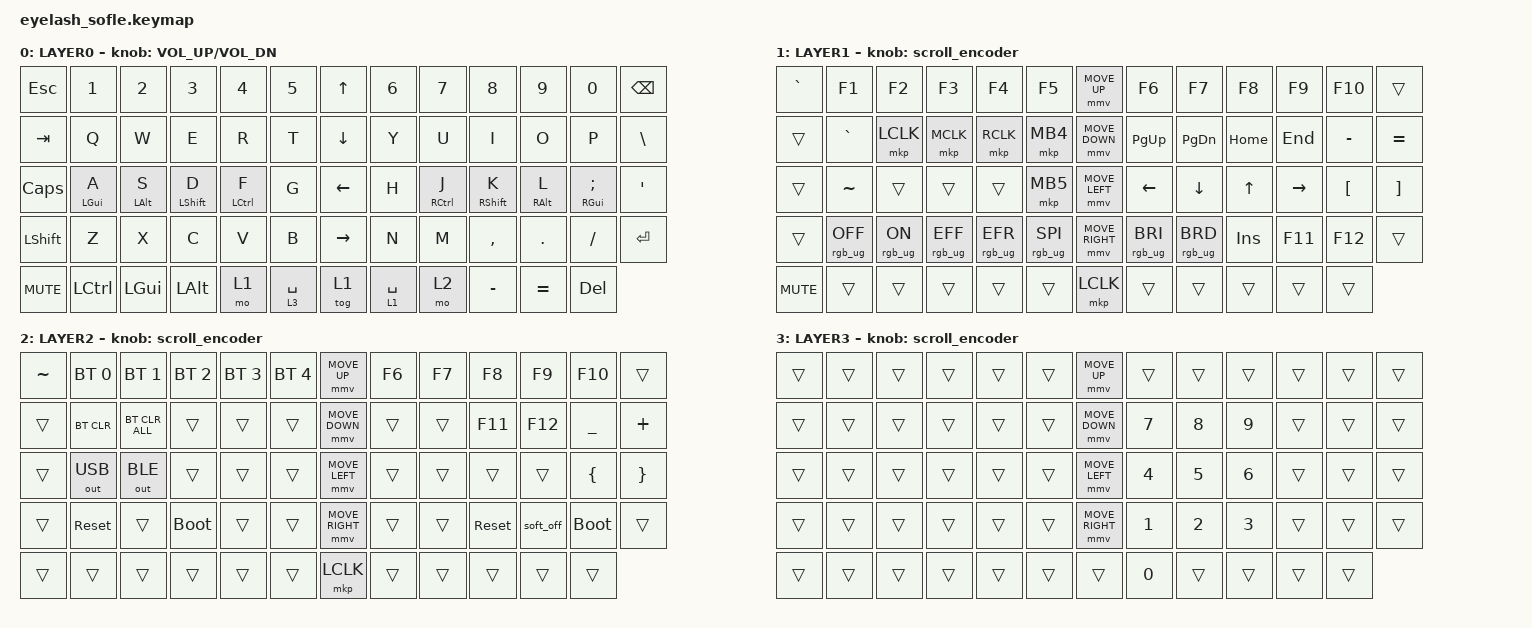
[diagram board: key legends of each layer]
#include <behaviors.dtsi>
#include <dt-bindings/zmk/bt.h>
#include <dt-bindings/zmk/keys.h>
#include <dt-bindings/zmk/mouse.h>
#include <dt-bindings/zmk/outputs.h>
#include <dt-bindings/zmk/rgb.h>

#include <input/processors.dtsi>

/*

   &mmv_input_listener {
       input-processors = <&zip_xy_scaler 2 1>;
   };

   &msc_input_listener {
       input-processors = <&zip_xy_scaler 2 1>;
   };

 */

#define ZMK_MOUSE_DEFAULT_MOVE_VAL 1200  // 600
#define ZMK_MOUSE_DEFAULT_SCRL_VAL 20    // 10

/ {
    behaviors {
        hml: home_row_mod_left {
            compatible = "zmk,behavior-hold-tap";
            #binding-cells = <2>;
            flavor = "balanced";
            require-prior-idle-ms = <150>;
            tapping-term-ms = <280>;
            quick-tap-ms = <175>;
            bindings = <&kp>, <&kp>;
            hold-trigger-key-positions = <27 28 29 30>; // List of keys on the right side of the keyboard
            hold-trigger-on-release;
        };
        hmr: home_row_mod_right {
            compatible = "zmk,behavior-hold-tap";
            #binding-cells = <2>;
            flavor = "balanced";
            require-prior-idle-ms = <150>;
            tapping-term-ms = <280>;
            quick-tap-ms = <175>;
            bindings = <&kp>, <&kp>;
            hold-trigger-key-positions = <34 35 36 37>; // List of keys on the left side of the keyboard
            hold-trigger-on-release;
        };
        mmv {
            acceleration-exponent = <1>;      // 1
            time-to-max-speed-ms = <900>;    // 40
            delay-ms = <0>;                   // 0
        };

        msc {
            acceleration-exponent = <1>;      // 0
            time-to-max-speed-ms = <400>;      // 500
            delay-ms = <0>;                   //   10
        };
    };

    scroll_encoder: scroll_encoder {
        compatible = "zmk,behavior-sensor-rotate";
        #sensor-binding-cells = <0>;
        bindings = <&msc SCRL_DOWN>, <&msc SCRL_UP>;

        tap-ms = <30>;
    };

    keymap {
        compatible = "zmk,keymap";

        layer0 {
            bindings = <
&kp ESC     &kp N1              &kp N2         &kp N3        &kp N4      &kp N5       &kp UP_ARROW     &kp N6     &kp N7      &kp N8         &kp N9           &kp N0             &kp BACKSPACE
&kp TAB     &kp Q               &kp W          &kp E         &kp R       &kp T        &kp DOWN_ARROW   &kp Y      &kp U       &kp I          &kp O            &kp P              &kp BSLH
&kp CAPS    &hml LEFT_GUI A      &hml LEFT_ALT S &hml LSHFT D   &hml LCTRL F &kp G        &kp LEFT_ARROW   &kp H      &hmr RCTRL J &hmr RSHFT K    &hmr RIGHT_ALT L  &hmr RIGHT_GUI SEMI &kp APOS
&kp LSHFT   &kp Z               &kp X          &kp C         &kp V       &kp B        &kp RIGHT_ARROW  &kp N      &kp M       &kp COMMA      &kp DOT          &kp FSLH           &kp ENTER
&kp C_MUTE  &kp LCTRL           &kp LEFT_GUI   &kp LEFT_ALT  &mo 1       &lt 3 SPACE  &tog 1           &lt 1 SPACE  &mo 2       &kp MINUS      &kp EQUAL        &kp DELETE
            >;

            sensor-bindings = <&inc_dec_kp C_VOLUME_UP C_VOL_DN>;
            display-name = "LAYER0";
        };

        layer_1 {
            bindings = <
&kp GRAVE   &kp F1           &kp F2          &kp F3           &kp F4           &kp F5             &mmv MOVE_UP     &kp F6           &kp F7           &kp F8      &kp F9     &kp F10           &trans
&trans      &kp GRAVE        &mkp LCLK       &mkp MCLK        &mkp RCLK        &mkp MB4           &mmv MOVE_DOWN   &kp PG_UP        &kp PG_DN        &kp HOME    &kp END    &kp MINUS         &kp EQUAL
&trans      &kp TILDE        &trans          &trans           &trans           &mkp MB5           &mmv MOVE_LEFT   &kp LEFT         &kp DOWN         &kp UP      &kp RIGHT  &kp LEFT_BRACKET  &kp RIGHT_BRACKET
&trans      &rgb_ug RGB_OFF  &rgb_ug RGB_ON  &rgb_ug RGB_EFF  &rgb_ug RGB_EFR  &rgb_ug RGB_SPI    &mmv MOVE_RIGHT  &rgb_ug RGB_BRI  &rgb_ug RGB_BRD  &kp INSERT  &kp F11    &kp F12           &trans
&kp C_MUTE  &trans           &trans          &trans           &trans           &trans             &mkp LCLK        &trans           &trans           &trans      &trans     &trans
            >;

            display-name = "LAYER1";
            sensor-bindings = <&scroll_encoder>;
        };

        layer_2 {
            bindings = <
&kp TILDE  &bt BT_SEL 0  &bt BT_SEL 1    &bt BT_SEL 2  &bt BT_SEL 3  &bt BT_SEL 4    &mmv MOVE_UP     &kp F6  &kp F7  &kp F8      &kp F9     &kp F10      &trans
&trans     &bt BT_CLR    &bt BT_CLR_ALL  &trans        &trans        &trans          &mmv MOVE_DOWN   &trans  &trans  &kp F11     &kp F12    &kp UNDER    &kp PLUS
&trans     &out OUT_USB  &out OUT_BLE    &trans        &trans        &trans          &mmv MOVE_LEFT   &trans  &trans  &trans      &trans     &kp LBRC     &kp RBRC
&trans     &sys_reset    &trans          &bootloader   &trans        &trans          &mmv MOVE_RIGHT  &trans  &trans  &sys_reset  &soft_off  &bootloader  &trans
&trans     &trans        &trans          &trans        &trans        &trans          &mkp LCLK        &trans  &trans  &trans      &trans     &trans
            >;

            display-name = "LAYER2";
            sensor-bindings = <&scroll_encoder>;
        };

        layer_3 {
            bindings = <
&trans  &trans  &trans  &trans  &trans  &trans    &mmv MOVE_UP     &trans  &trans  &trans  &trans  &trans  &trans
&trans  &trans  &trans  &trans  &trans  &trans    &mmv MOVE_DOWN   &kp N7  &kp N8  &kp N9  &trans  &trans  &trans
&trans  &trans  &trans  &trans  &trans  &trans    &mmv MOVE_LEFT   &kp N4  &kp N5  &kp N6  &trans  &trans  &trans
&trans  &trans  &trans  &trans  &trans  &trans    &mmv MOVE_RIGHT  &kp N1  &kp N2  &kp N3  &trans  &trans  &trans
&trans  &trans  &trans  &trans  &trans  &trans    &trans           &kp N0  &trans  &trans  &trans  &trans
            >;

            display-name = "LAYER3";
            sensor-bindings = <&scroll_encoder>;
        };
/*
        layer_3 {
            bindings = <
&trans  &trans  &trans  &trans  &trans  &trans    &mmv MOVE_UP     &trans  &trans  &trans  &trans  &trans  &trans
&trans  &trans  &trans  &trans  &trans  &trans    &mmv MOVE_DOWN   &trans  &trans  &trans  &trans  &trans  &trans
&trans  &trans  &trans  &trans  &trans  &trans    &mmv MOVE_LEFT   &trans  &trans  &trans  &trans  &trans  &trans
&trans  &trans  &trans  &trans  &trans  &trans    &mmv MOVE_RIGHT  &trans  &trans  &trans  &trans  &trans  &trans
&trans  &trans  &trans  &trans  &trans  &trans    &trans           &trans  &trans  &trans  &trans  &trans
            >;

            display-name = "LAYER3";
            sensor-bindings = <&scroll_encoder>;
        };
*/
    };
};
